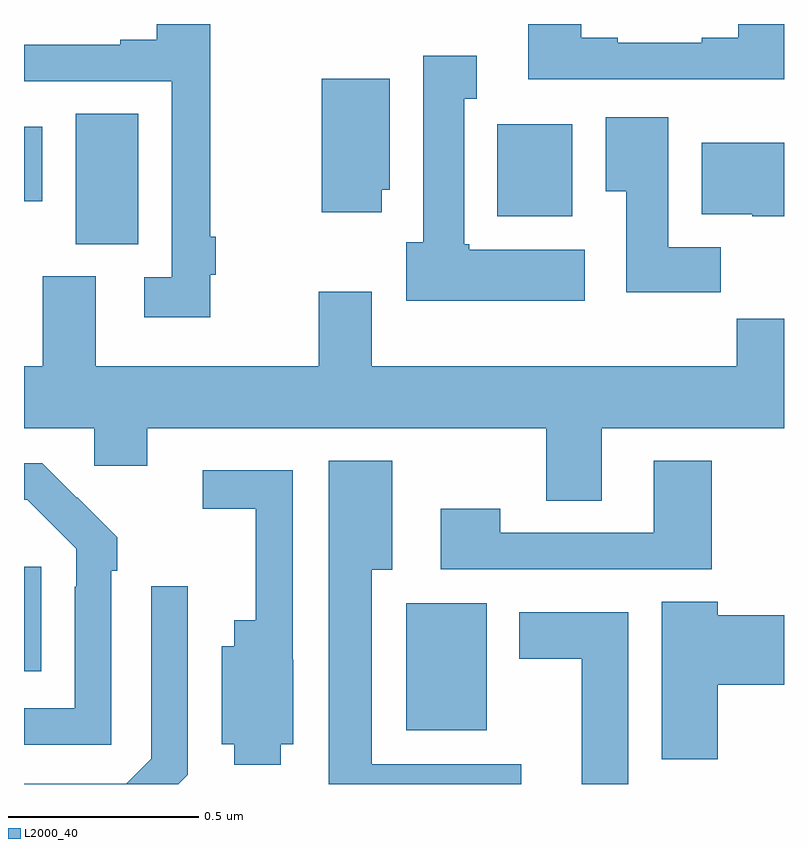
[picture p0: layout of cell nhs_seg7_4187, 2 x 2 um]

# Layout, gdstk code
import gdstk
lib = gdstk.Library(unit=1e-6, precision=1e-09)
def R(c, l, rs):  # rectangles x0, y0, x1, y1
    for r in rs: c.add(gdstk.rectangle(r[:2], r[2:], *l))
def P(c, l, *ps):  # polygons
    for p in ps: c.add(gdstk.Polygon(p, *l))
L2000_40 = (2000, 40)

nhs_seg7_4187 = lib.new_cell('nhs_seg7_4187')
R(nhs_seg7_4187, L2000_40, [(170.006,1013.141,170.218,1013.476), (169,1013.297,169.045,1013.572), (169.136,1014.421,169.3,1014.764), (170.246,1014.494,170.443,1014.736), (169,1014.533,169.048,1014.73)])
P(nhs_seg7_4187, L2000_40, [(169.49,1014.34),(169.505,1014.34),(169.505,1014.44),(169.49,1014.44),(169.49,1015),(169.349,1015),(169.349,1014.958),(169.253,1014.958),(169.253,1014.945),(169,1014.945),(169,1014.849),(169.389,1014.849),(169.389,1014.333),(169.317,1014.333),(169.317,1014.228),(169.49,1014.228)],
  [(171,1015),(170.879,1015),(170.879,1014.964),(170.783,1014.964),(170.783,1014.951),(170.563,1014.951),(170.563,1014.964),(170.467,1014.964),(170.467,1015),(170.327,1015),(170.327,1014.855),(170.787,1014.855),(170.787,1014.854),(171,1014.854)],
  [(170.476,1014.406),(170.172,1014.406),(170.172,1014.42),(170.158,1014.42),(170.158,1014.803),(170.191,1014.803),(170.191,1014.916),(170.051,1014.916),(170.051,1014.426),(170.006,1014.426),(170.006,1014.272),(170.476,1014.272)],
  [(169.942,1014.564),(169.963,1014.564),(169.963,1014.856),(169.784,1014.856),(169.784,1014.504),(169.942,1014.504)],
  [(170.834,1014.412),(170.695,1014.412),(170.695,1014.754),(170.531,1014.754),(170.531,1014.56),(170.585,1014.56),(170.585,1014.294),(170.834,1014.294)],
  [(171,1014.688),(170.783,1014.688),(170.783,1014.5),(170.916,1014.5),(170.916,1014.494),(171,1014.494)],
  [(170.521,1013.936),(171,1013.936),(171,1014.224),(170.875,1014.224),(170.875,1014.1),(169.915,1014.1),(169.915,1014.295),(169.775,1014.295),(169.775,1014.1),(169.189,1014.1),(169.189,1014.336),(169.049,1014.336),(169.049,1014.1),(169,1014.1),(169,1013.936),(169.185,1013.936),(169.185,1013.838),(169.324,1013.838),(169.324,1013.936),(170.374,1013.936),(170.374,1013.746),(170.521,1013.746)],
  [(170.308,1013.052),(169.915,1013.052),(169.915,1013.564),(169.969,1013.564),(169.969,1013.851),(169.802,1013.851),(169.802,1013),(170.308,1013)],
  [(170.81,1013.851),(170.657,1013.851),(170.657,1013.661),(170.253,1013.661),(170.253,1013.725),(170.097,1013.725),(170.097,1013.565),(170.81,1013.565)],
  [(169.23,1013.561),(169.245,1013.561),(169.245,1013.649),(169.14,1013.754),(169.139,1013.753),(169.048,1013.844),(169,1013.844),(169,1013.748),(169.009,1013.748),(169.137,1013.619),(169.137,1013.519),(169.134,1013.519),(169.134,1013.199),(169,1013.199),(169,1013.103),(169.23,1013.103)],
  [(169.675,1013.105),(169.708,1013.105),(169.708,1013.327),(169.707,1013.327),(169.707,1013.826),(169.47,1013.826),(169.47,1013.725),(169.61,1013.725),(169.61,1013.431),(169.553,1013.431),(169.553,1013.362),(169.52,1013.362),(169.52,1013.105),(169.553,1013.105),(169.553,1013.051),(169.675,1013.051)],
  [(169.431,1013.025),(169.431,1013.521),(169.335,1013.521),(169.335,1013.067),(169.269,1013.001),(169,1013.001),(169,1013),(169.406,1013)],
  [(170.825,1013.261),(171,1013.261),(171,1013.444),(170.825,1013.444),(170.825,1013.48),(170.678,1013.48),(170.678,1013.065),(170.825,1013.065)],
  [(170.59,1013.452),(170.303,1013.452),(170.303,1013.33),(170.468,1013.33),(170.468,1013),(170.59,1013)])

lib.write_gds('nhs_seg7_4187.gds')
